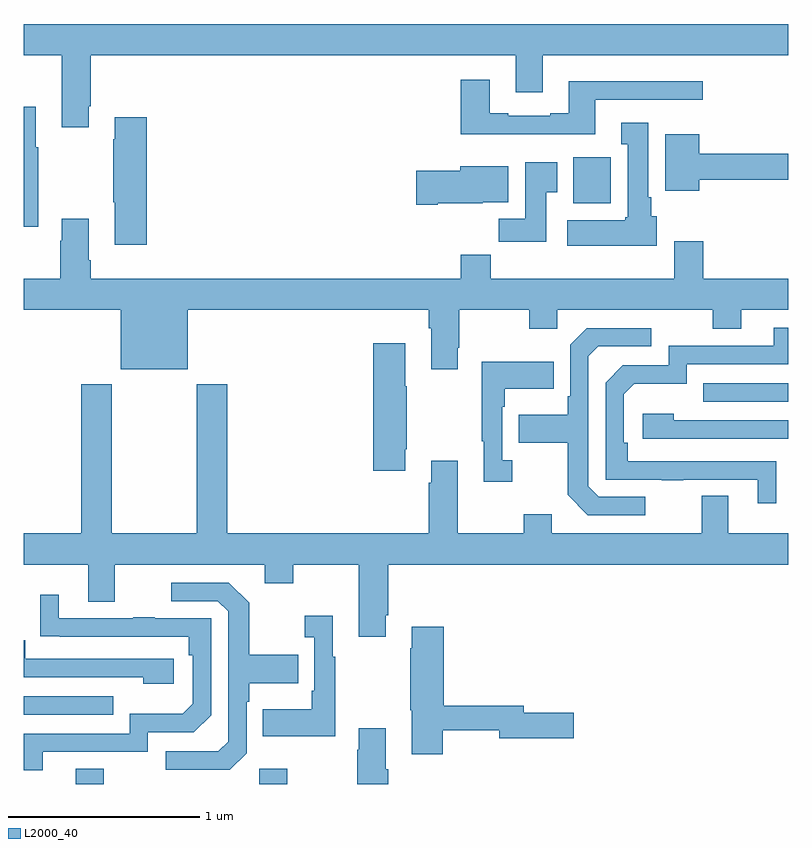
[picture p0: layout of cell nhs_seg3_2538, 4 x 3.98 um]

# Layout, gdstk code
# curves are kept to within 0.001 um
import gdstk
lib = gdstk.Library(unit=1e-6, precision=1e-09)
def R(c, l, rs):  # rectangles x0, y0, x1, y1
    for r in rs: c.add(gdstk.rectangle(r[:2], r[2:], *l))
def P(c, l, *ps):  # polygons
    for p in ps: c.add(gdstk.Polygon(p, *l))
L2000_40 = (2000, 40)

nhs_seg3_2538 = lib.new_cell('nhs_seg3_2538')
R(nhs_seg3_2538, L2000_40, [(241.271,734.4,241.419,734.479), (242.232,734.4,242.379,734.479), (241,734.763,241.469,734.859), (244.555,736.401,245,736.497), (243.875,737.438,244.072,737.68)])
P(nhs_seg3_2538, L2000_40, [(241.339,737.947),(241.352,737.947),(241.352,738.212),(243.575,738.212),(243.575,738.018),(243.715,738.018),(243.715,738.212),(245,738.212),(245,738.376),(241,738.376),(241,738.212),(241.199,738.212),(241.199,737.835),(241.339,737.835)],
  [(243.991,737.979),(244.552,737.979),(244.552,738.076),(243.851,738.076),(243.851,737.908),(243.755,737.908),(243.755,737.895),(243.535,737.895),(243.535,737.908),(243.439,737.908),(243.439,738.085),(243.287,738.085),(243.287,737.798),(243.991,737.798)],
  [(241.075,737.731),(241.063,737.731),(241.063,737.944),(241,737.944),(241,737.315),(241.075,737.315)],
  [(241.643,737.887),(241.475,737.887),(241.475,737.774),(241.468,737.774),(241.468,737.443),(241.475,737.443),(241.475,737.22),(241.643,737.22)],
  [(244.312,737.37),(244.282,737.37),(244.282,737.47),(244.267,737.47),(244.267,737.86),(244.127,737.86),(244.127,737.747),(244.16,737.747),(244.16,737.364),(244.147,737.364),(244.147,737.35),(243.843,737.35),(243.843,737.216),(244.312,737.216)],
  [(244.534,737.56),(245,737.56),(245,737.696),(244.534,737.696),(244.534,737.8),(244.355,737.8),(244.355,737.504),(244.534,737.504)],
  [(243.733,737.497),(243.79,737.497),(243.79,737.653),(243.623,737.653),(243.623,737.356),(243.484,737.356),(243.484,737.238),(243.733,737.238)],
  [(243.166,737.438),(243.402,737.438),(243.402,737.444),(243.535,737.444),(243.535,737.632),(243.284,737.632),(243.284,737.609),(243.054,737.609),(243.054,737.431),(243.166,737.431)],
  [(243.271,736.681),(243.279,736.681),(243.279,736.88),(243.646,736.88),(243.646,736.781),(243.792,736.781),(243.792,736.88),(244.606,736.88),(244.606,736.781),(244.753,736.781),(244.753,736.88),(245,736.88),(245,737.044),(244.556,737.044),(244.556,737.239),(244.403,737.239),(244.403,737.044),(243.443,737.044),(243.443,737.168),(243.287,737.168),(243.287,737.044),(241.352,737.044),(241.352,737.14),(241.339,737.14),(241.339,737.356),(241.199,737.356),(241.199,737.243),(241.192,737.243),(241.192,737.044),(241,737.044),(241,736.88),(241.508,736.88),(241.508,736.571),(241.858,736.571),(241.858,736.88),(243.119,736.88),(243.119,736.784),(243.131,736.784),(243.131,736.569),(243.271,736.569)],
  [(244.937,736.088),(244.16,736.089),(244.16,736.186),(244.14,736.186),(244.14,736.44),(244.193,736.493),(244.47,736.493),(244.47,736.596),(245,736.596),(245,736.788),(244.925,736.788),(244.925,736.692),(244.374,736.692),(244.374,736.59),(244.134,736.59),(244.044,736.5),(244.044,735.993),(244.339,735.993),(244.339,735.988),(244.451,735.988),(244.451,735.993),(244.841,735.993),(244.841,735.87),(244.937,735.87)],
  [(244.252,735.903),(244.008,735.903),(243.954,735.957),(243.954,736.638),(244.005,736.689),(244.282,736.689),(244.282,736.785),(243.945,736.785),(243.858,736.698),(243.858,736.429),(243.846,736.429),(243.846,736.333),(243.589,736.333),(243.589,736.186),(243.846,736.186),(243.846,735.913),(243.951,735.807),(244.252,735.807)],
  [(242.995,736.15),(243.003,736.15),(243.003,736.481),(242.995,736.481),(242.995,736.705),(242.828,736.705),(242.828,736.038),(242.995,736.038)],
  [(243.556,736.094),(243.504,736.094),(243.504,736.373),(243.517,736.373),(243.517,736.469),(243.773,736.469),(243.773,736.609),(243.396,736.609),(243.396,736.193),(243.407,736.193),(243.407,735.981),(243.556,735.981)],
  [(241.301,736.492),(241.301,735.712),(241,735.712),(241,735.548),(241.337,735.548),(241.337,735.354),(241.477,735.354),(241.477,735.548),(242.261,735.548),(242.261,735.449),(242.409,735.449),(242.409,735.548),(242.753,735.548),(242.753,735.171),(242.893,735.171),(242.893,735.283),(242.906,735.283),(242.906,735.548),(245,735.548),(245,735.712),(244.687,735.712),(244.687,735.907),(244.547,735.907),(244.547,735.712),(243.763,735.712),(243.763,735.811),(243.616,735.811),(243.616,735.712),(243.271,735.712),(243.271,736.09),(243.131,736.09),(243.131,735.977),(243.119,735.977),(243.119,735.712),(242.066,735.712),(242.066,736.492),(241.906,736.492),(241.906,735.712),(241.461,735.712),(241.461,736.492)],
  [(245,736.302),(244.4,736.302),(244.4,736.336),(244.239,736.336),(244.239,736.206),(245,736.206)],
  [(242.166,734.562),(242.166,734.831),(242.179,734.831),(242.179,734.927),(242.435,734.927),(242.435,735.075),(242.179,735.075),(242.179,735.347),(242.073,735.453),(241.773,735.453),(241.773,735.357),(242.016,735.357),(242.07,735.303),(242.07,734.622),(242.019,734.571),(241.743,734.571),(241.743,734.475),(242.079,734.475)],
  [(241.099,734.568),(241.65,734.568),(241.65,734.67),(241.89,734.67),(241.98,734.76),(241.98,735.267),(241.685,735.267),(241.685,735.272),(241.573,735.272),(241.573,735.267),(241.183,735.267),(241.183,735.391),(241.087,735.391),(241.087,735.172),(241.864,735.171),(241.864,735.074),(241.884,735.074),(241.884,734.82),(241.831,734.767),(241.554,734.767),(241.554,734.664),(241,734.664),(241,734.472),(241.099,734.472)],
  [(242.629,735.067),(242.617,735.067),(242.617,735.28),(242.469,735.28),(242.469,735.167),(242.52,735.167),(242.52,734.887),(242.508,734.887),(242.508,734.791),(242.251,734.791),(242.251,734.651),(242.629,734.651)],
  [(243.192,734.682),(243.488,734.682),(243.488,734.639),(243.877,734.639),(243.877,734.774),(243.616,734.774),(243.616,734.81),(243.197,734.81),(243.197,735.223),(243.029,735.223),(243.029,735.11),(243.022,735.11),(243.022,734.787),(243.029,734.787),(243.029,734.556),(243.192,734.556)],
  [(241.786,735.054),(241.009,735.054),(241.009,735.151),(241,735.151),(241,734.958),(241.625,734.958),(241.625,734.924),(241.786,734.924)],
  [(242.906,734.476),(242.893,734.476),(242.893,734.692),(242.753,734.692),(242.753,734.579),(242.746,734.579),(242.746,734.4),(242.906,734.4)])

lib.write_gds('nhs_seg3_2538.gds')
